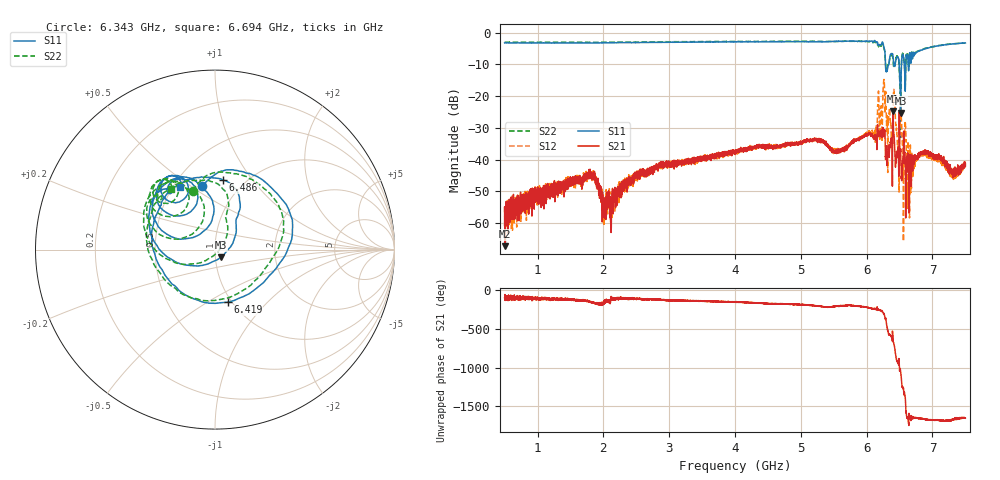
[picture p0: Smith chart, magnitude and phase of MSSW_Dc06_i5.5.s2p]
!Keysight Technologies,M9374A,MY55442783,A.12.55.05
!Date: Thursday, May 20, 2021 13:40:08
!Correction: S11(Full 2 Port(1,2))
!S21(Full 2 Port(1,2))
!S12(Full 2 Port(1,2))
!S22(Full 2 Port(1,2))
!S2P File: Measurements: S11, S21, S12, S22:
# Hz S  RI  R 50
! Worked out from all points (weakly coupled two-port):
!   7001 points, 500 MHz to 7.5 GHz, reference 50 ohm
!   highest |S21| = -24.78 dB at 6.399 GHz (marker M1); lowest = -67.3 dB at 511 MHz (marker M2)
!   lowest |S11| = -25.3 dB at 6.515 GHz (marker M3), VSWR 1.11, Z = 53.3 - j4.56 ohm
!   |S11| at or under -10 dB: 6.286 GHz to 6.336 GHz (49.94 MHz wide, 0.791 % of centre); 6.493 GHz to 6.528 GHz (34.92 MHz wide, 0.536 % of centre); 6.572459 GHz to 6.59403 GHz (21.57 MHz wide, 0.328 % of centre) (the widest 3 of 5)
!   |S22| runs from -33.5 to -2.7 dB; largest |S21 - S12| = 0.18
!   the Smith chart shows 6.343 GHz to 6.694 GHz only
!   S11 on the Smith chart (normalised r, x): 6.343 GHz: 0.68, +0.55; 6.419 GHz: 0.96, -0.62; 6.486 GHz: 0.80, +0.73; 6.694 GHz: 0.54, +0.45
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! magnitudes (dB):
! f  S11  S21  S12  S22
! 500 MHz  -3.2  -55.0  -55.0  -3.0
! 511 MHz  -3.2  -67.3  -55.6  -3.0
! 1.667 GHz  -3.2  -46.0  -46.3  -3.0
! 1.842 GHz  -3.2  -45.3  -45.1  -3.0
! 2.007 GHz  -3.2  -53.7  -54.6  -3.0
! 2.121 GHz  -3.2  -60.9  -57.7  -3.0
! 2.834 GHz  -3.1  -42.9  -41.6  -2.9
! 4 GHz  -2.9  -37.1  -38.0  -2.8
! 5.167 GHz  -2.9  -33.8  -34.3  -2.7
! 5.532 GHz  -2.7  -37.9  -37.2  -2.8
! 6.1 GHz  -2.9  -33.1  -32.1  -3.1
! 6.276 GHz  -5.9  -31.1  -21.8  -6.0
! 6.334 GHz  -10.2  -36.9  -26.2  -10.1
! 6.343 GHz  -8.9  -38.2  -24.9  -9.1
! 6.399 GHz  -7.3  -24.8  -28.1  -8.1
! 6.419 GHz  -10.4  -33.0  -19.5  -11.1
! 6.486 GHz  -8.2  -38.3  -40.4  -8.4
! 6.515 GHz  -25.3  -36.6  -23.0  -33.5
! 6.618 GHz  -7.0  -39.6  -42.9  -6.6
! 6.694 GHz  -8.0  -40.7  -43.7  -7.6
! 6.891 GHz  -5.1  -37.7  -38.2  -4.9
! 7.5 GHz  -3.2  -42.1  -41.5  -3.3
